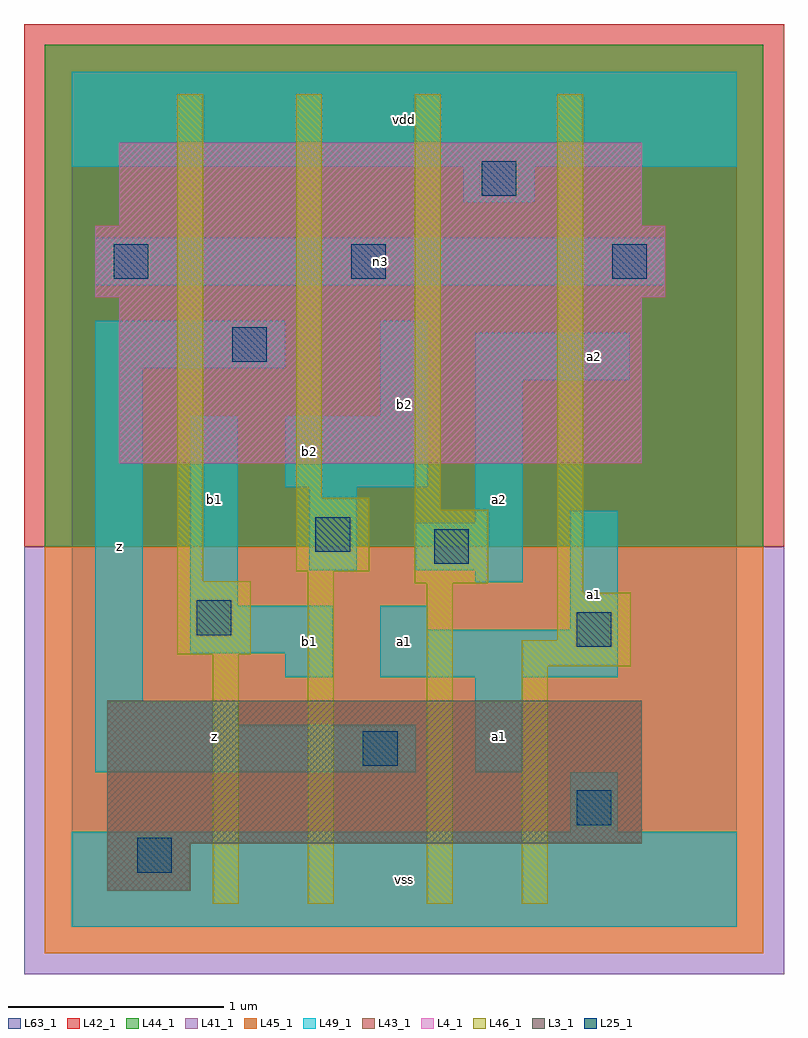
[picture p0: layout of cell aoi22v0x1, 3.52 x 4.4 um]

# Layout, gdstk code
import gdstk
lib = gdstk.Library(unit=1e-6, precision=1e-09)
def R(c, l, rs):  # rectangles x0, y0, x1, y1
    for r in rs: c.add(gdstk.rectangle(r[:2], r[2:], *l))
L3_1 = (3, 1)
L4_1 = (4, 1)
L25_1 = (25, 1)
L41_1 = (41, 1)
L42_1 = (42, 1)
L43_1 = (43, 1)
L44_1 = (44, 1)
L45_1 = (45, 1)
L46_1 = (46, 1)
L49_1 = (49, 1)
L63_1 = (63, 1)

aoi22v0x1 = lib.new_cell('aoi22v0x1')
R(aoi22v0x1, L3_1, [(0.165,0.165,0.55,0.385), (0.165,0.385,2.64,1.045)])
R(aoi22v0x1, L4_1, [(0.22,2.145,2.64,2.915), (0.11,2.915,2.75,3.245), (0.22,3.245,2.64,3.63)])
R(aoi22v0x1, L25_1, [(0.305,0.25,0.465,0.41), (2.34,0.47,2.5,0.63), (1.35,0.745,1.51,0.905), (2.34,1.295,2.5,1.455), (0.58,1.35,0.74,1.51), (1.68,1.68,1.84,1.84), (1.13,1.735,1.29,1.895), (0.745,2.615,0.905,2.775), (0.195,3,0.355,3.16), (1.295,3,1.455,3.16), (2.505,3,2.665,3.16), (1.9,3.385,2.06,3.545)])
R(aoi22v0x1, L41_1, [(-0.22,-0.22,3.3,1.76)])
R(aoi22v0x1, L42_1, [(-0.22,1.76,3.3,4.18)])
R(aoi22v0x1, L43_1, [(0.165,0.165,0.55,0.385), (0.165,0.385,2.64,1.045), (0.22,2.145,2.64,2.915), (0.11,2.915,2.75,3.245), (0.22,3.245,2.64,3.63)])
R(aoi22v0x1, L44_1, [(-0.125,1.76,3.205,4.085)])
R(aoi22v0x1, L45_1, [(-0.125,-0.125,3.205,1.76)])
R(aoi22v0x1, L46_1, [(0.655,0.105,0.775,1.26), (1.095,0.105,1.215,1.645), (1.645,0.105,1.765,1.59), (2.085,0.105,2.205,1.205), (2.085,1.205,2.59,1.325), (0.49,1.26,0.83,1.6), (2.25,1.325,2.59,1.545), (2.25,1.545,2.37,3.855), (1.59,1.59,1.93,1.93), (0.49,1.6,0.61,3.855), (1.04,1.645,1.38,1.985), (1.59,1.93,1.71,3.855), (1.04,1.985,1.16,3.855)])
R(aoi22v0x1, L49_1, [(0,0,3.08,0.44), (2.31,0.44,2.53,0.715), (0.11,0.715,1.595,0.935), (1.87,0.715,2.09,1.155), (0.11,0.935,0.77,1.045), (0.11,1.045,0.33,2.585), (0.99,1.155,1.21,1.265), (1.43,1.155,2.53,1.375), (0.55,1.265,1.21,1.485), (1.43,1.375,1.65,1.485), (2.31,1.375,2.53,1.925), (0.55,1.485,0.77,2.365), (1.87,1.595,2.09,1.65), (1.1,1.65,1.32,2.035), (1.595,1.65,2.09,1.87), (1.87,1.87,2.09,2.53), (0.99,2.035,1.65,2.365), (1.43,2.365,1.65,2.805), (1.87,2.53,2.585,2.75), (0.11,2.585,0.99,2.805), (0.11,2.97,2.75,3.19), (1.815,3.355,2.145,3.52), (0,3.52,3.08,3.96)])
R(aoi22v0x1, L63_1, [(0,0,3.08,3.96)])
aoi22v0x1.add(gdstk.Label('z', (0.22,1.76), layer=49, texttype=1))
aoi22v0x1.add(gdstk.Label('z', (0.66,0.88), layer=49, texttype=1))
aoi22v0x1.add(gdstk.Label('b1', (1.1,1.32), layer=49, texttype=1))
aoi22v0x1.add(gdstk.Label('b2', (1.1,2.2), layer=49, texttype=1))
aoi22v0x1.add(gdstk.Label('b1', (0.66,1.98), layer=49, texttype=1))
aoi22v0x1.add(gdstk.Label('vss', (1.54,0.22), layer=49, texttype=1))
aoi22v0x1.add(gdstk.Label('a1', (1.98,0.88), layer=49, texttype=1))
aoi22v0x1.add(gdstk.Label('a1', (1.54,1.32), layer=49, texttype=1))
aoi22v0x1.add(gdstk.Label('a2', (1.98,1.98), layer=49, texttype=1))
aoi22v0x1.add(gdstk.Label('b2', (1.54,2.42), layer=49, texttype=1))
aoi22v0x1.add(gdstk.Label('vdd', (1.54,3.74), layer=49, texttype=1))
aoi22v0x1.add(gdstk.Label('a1', (2.42,1.54), layer=49, texttype=1))
aoi22v0x1.add(gdstk.Label('a2', (2.42,2.64), layer=49, texttype=1))
aoi22v0x1.add(gdstk.Label('n3', (1.43,3.08), layer=49, texttype=1))

lib.write_gds('aoi22v0x1.gds')
